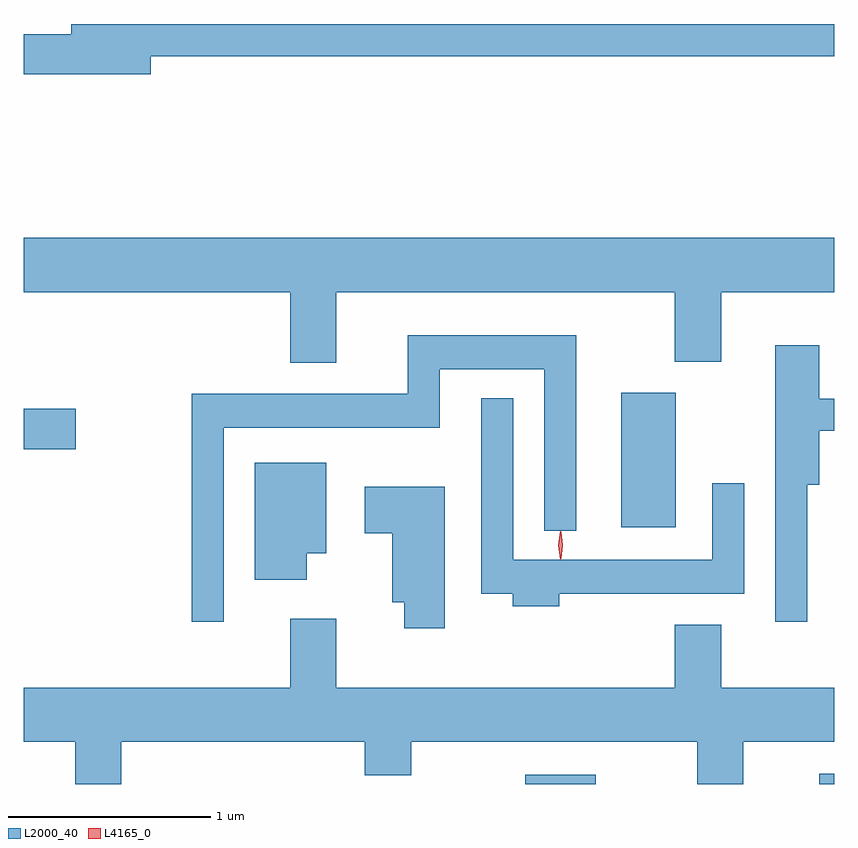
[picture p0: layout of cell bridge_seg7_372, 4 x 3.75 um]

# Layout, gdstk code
import gdstk
lib = gdstk.Library(unit=1e-6, precision=1e-09)
def R(c, l, rs):  # rectangles x0, y0, x1, y1
    for r in rs: c.add(gdstk.rectangle(r[:2], r[2:], *l))
def P(c, l, *ps):  # polygons
    for p in ps: c.add(gdstk.Polygon(p, *l))
L2000_40 = (2000, 40)
L4165_0 = (4165, 0)

bridge_seg7_372 = lib.new_cell('bridge_seg7_372')
R(bridge_seg7_372, L2000_40, [(1148.293,1751.848,1148.639,1751.894), (1149.743,1751.848,1149.817,1751.899), (1148.766,1753.116,1149.034,1753.779), (1145.817,1753.501,1146.074,1753.699)])
P(bridge_seg7_372, L2000_40, [(1146.444,1755.441),(1149.817,1755.441),(1149.817,1755.599),(1146.051,1755.599),(1146.051,1755.549),(1145.817,1755.549),(1145.817,1755.351),(1146.444,1755.351)],
  [(1147.359,1754.276),(1149.031,1754.276),(1149.031,1753.931),(1149.259,1753.931),(1149.259,1754.276),(1149.817,1754.276),(1149.817,1754.544),(1145.817,1754.544),(1145.817,1754.276),(1147.131,1754.276),(1147.131,1753.926),(1147.359,1753.926)],
  [(1146.804,1753.606),(1147.869,1753.606),(1147.869,1753.896),(1148.386,1753.896),(1148.386,1753.098),(1148.544,1753.098),(1148.544,1754.064),(1147.711,1754.064),(1147.711,1753.774),(1146.646,1753.774),(1146.646,1752.648),(1146.804,1752.648)],
  [(1149.684,1753.326),(1149.744,1753.326),(1149.744,1753.591),(1149.817,1753.591),(1149.817,1753.749),(1149.744,1753.749),(1149.744,1754.014),(1149.526,1754.014),(1149.526,1752.648),(1149.684,1752.648)],
  [(1148.459,1752.786),(1149.374,1752.786),(1149.374,1753.333),(1149.216,1753.333),(1149.216,1752.954),(1148.234,1752.954),(1148.234,1753.753),(1148.076,1753.753),(1148.076,1752.786),(1148.231,1752.786),(1148.231,1752.726),(1148.459,1752.726)],
  [(1147.214,1752.986),(1147.309,1752.986),(1147.309,1753.434),(1146.956,1753.434),(1146.956,1752.856),(1147.214,1752.856)],
  [(1147.894,1753.314),(1147.501,1753.314),(1147.501,1753.086),(1147.636,1753.086),(1147.636,1752.746),(1147.696,1752.746),(1147.696,1752.616),(1147.894,1752.616)],
  [(1146.299,1752.056),(1147.501,1752.056),(1147.501,1751.891),(1147.729,1751.891),(1147.729,1752.056),(1149.141,1752.056),(1149.141,1751.848),(1149.369,1751.848),(1149.369,1752.056),(1149.817,1752.056),(1149.817,1752.324),(1149.259,1752.324),(1149.259,1752.634),(1149.031,1752.634),(1149.031,1752.324),(1147.359,1752.324),(1147.359,1752.664),(1147.131,1752.664),(1147.131,1752.324),(1145.817,1752.324),(1145.817,1752.056),(1146.071,1752.056),(1146.071,1751.848),(1146.299,1751.848)])
P(bridge_seg7_372, L4165_0, [(1148.465,1752.957),(1148.456,1753.027),(1148.465,1753.096),(1148.466,1753.096),(1148.466,1753.096),(1148.476,1753.027),(1148.466,1752.957),(1148.466,1752.957)],
  [(1148.468,1752.959),(1148.468,1752.96),(1148.458,1753.026),(1148.468,1753.093),(1148.468,1753.093),(1148.469,1753.093),(1148.478,1753.026),(1148.469,1752.96)])

lib.write_gds('bridge_seg7_372.gds')
